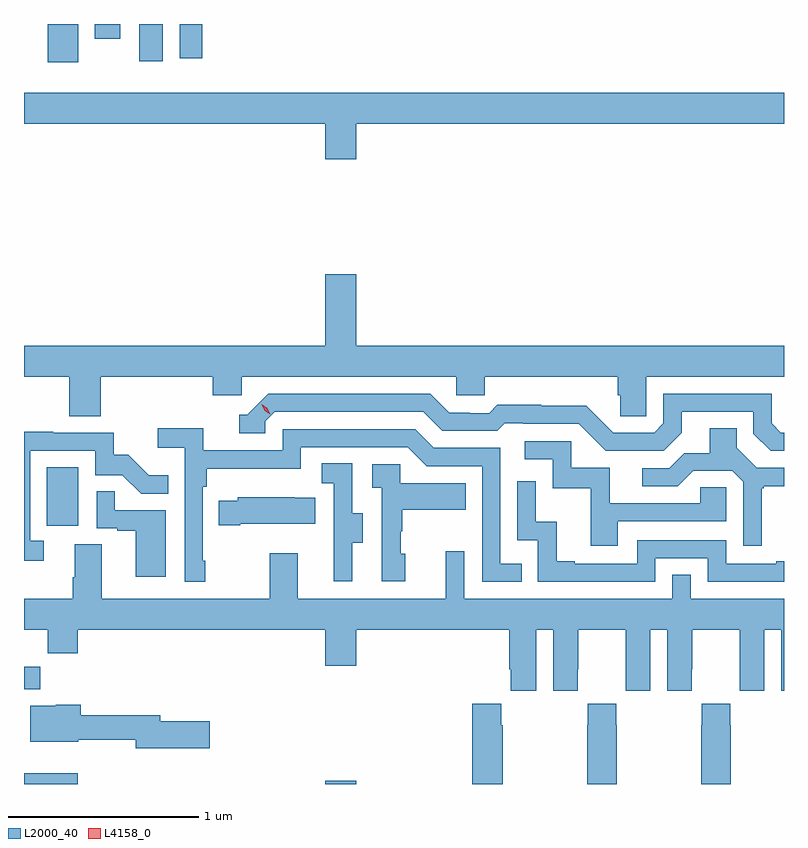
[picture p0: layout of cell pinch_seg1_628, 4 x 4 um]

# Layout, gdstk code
import gdstk
lib = gdstk.Library(unit=1e-6, precision=1e-09)
def R(c, l, rs):  # rectangles x0, y0, x1, y1
    for r in rs: c.add(gdstk.rectangle(r[:2], r[2:], *l))
def P(c, l, *ps):  # polygons
    for p in ps: c.add(gdstk.Polygon(p, *l))
L2000_40 = (2000, 40)
L4158_0 = (4158, 0)

pinch_seg1_628 = lib.new_cell('pinch_seg1_628')
R(pinch_seg1_628, L2000_40, [(1098.487,520.285,1098.77,520.342), (1100.072,520.285,1100.236,520.303), (1098.487,520.784,1098.572,520.903), (1098.608,521.645,1098.772,521.953), (1098.611,524.085,1098.772,524.285), (1099.094,524.088,1099.216,524.285), (1099.308,524.106,1099.424,524.285), (1098.86,524.208,1098.994,524.285)])
P(pinch_seg1_628, L2000_40, [(1100.236,523.76),(1102.487,523.76),(1102.487,523.924),(1098.487,523.924),(1098.487,523.76),(1100.072,523.76),(1100.072,523.572),(1100.236,523.572)],
  [(1098.89,522.428),(1099.481,522.428),(1099.481,522.33),(1099.632,522.33),(1099.632,522.428),(1100.763,522.428),(1100.763,522.33),(1100.913,522.33),(1100.913,522.428),(1101.611,522.428),(1101.611,522.33),(1101.625,522.33),(1101.625,522.22),(1101.762,522.22),(1101.762,522.428),(1102.487,522.428),(1102.487,522.592),(1100.236,522.592),(1100.236,522.967),(1100.072,522.967),(1100.072,522.592),(1098.487,522.592),(1098.487,522.428),(1098.725,522.428),(1098.725,522.22),(1098.89,522.22)],
  [(1101.949,522.133),(1101.949,522.243),(1102.326,522.243),(1102.326,522.129),(1102.416,522.039),(1102.487,522.039),(1102.487,522.135),(1102.47,522.135),(1102.422,522.183),(1102.422,522.339),(1101.852,522.339),(1101.852,522.183),(1101.804,522.135),(1101.588,522.135),(1101.446,522.277),(1101.21,522.277),(1101.21,522.28),(1100.977,522.28),(1100.935,522.237),(1100.832,522.237),(1100.832,522.24),(1100.725,522.24),(1100.626,522.339),(1099.773,522.339),(1099.662,522.228),(1099.619,522.228),(1099.619,522.132),(1099.758,522.132),(1099.758,522.195),(1099.806,522.243),(1100.589,522.243),(1100.688,522.144),(1100.977,522.144),(1101.016,522.183),(1101.115,522.183),(1101.115,522.18),(1101.408,522.18),(1101.549,522.039),(1101.855,522.039)],
  [(1102.369,521.841),(1102.381,521.841),(1102.381,521.852),(1102.487,521.852),(1102.487,521.949),(1102.344,521.949),(1102.237,522.056),(1102.237,522.158),(1102.097,522.158),(1102.097,522.026),(1101.962,522.026),(1101.882,521.946),(1101.741,521.946),(1101.741,521.853),(1101.928,521.853),(1102.009,521.934),(1102.215,521.934),(1102.272,521.877),(1102.272,521.538),(1102.369,521.538)],
  [(1099.441,521.461),(1099.428,521.461),(1099.428,521.849),(1099.448,521.849),(1099.448,521.945),(1099.944,521.945),(1099.944,522.057),(1100.508,522.057),(1100.607,521.958),(1100.898,521.958),(1100.898,521.349),(1101.107,521.349),(1101.107,521.445),(1100.994,521.445),(1100.994,522.054),(1100.644,522.054),(1100.545,522.153),(1099.848,522.153),(1099.848,522.042),(1099.43,522.042),(1099.43,522.158),(1099.191,522.158),(1099.191,522.056),(1099.332,522.056),(1099.332,521.349),(1099.441,521.349)],
  [(1098.592,521.565),(1098.519,521.565),(1098.519,522.039),(1098.861,522.039),(1098.861,521.91),(1099.005,521.91),(1099.103,521.812),(1099.247,521.812),(1099.247,521.911),(1099.143,521.911),(1099.036,522.018),(1098.96,522.018),(1098.96,522.135),(1098.641,522.135),(1098.641,522.14),(1098.487,522.14),(1098.487,521.46),(1098.592,521.46)],
  [(1101.613,521.667),(1102.182,521.667),(1102.182,521.847),(1102.045,521.847),(1102.045,521.763),(1101.571,521.763),(1101.571,521.949),(1101.366,521.949),(1101.366,522.09),(1101.123,522.09),(1101.123,521.994),(1101.27,521.994),(1101.27,521.841),(1101.469,521.841),(1101.469,521.538),(1101.613,521.538)],
  [(1100.215,521.554),(1100.269,521.554),(1100.269,521.709),(1100.214,521.709),(1100.214,521.972),(1100.055,521.972),(1100.055,521.869),(1100.118,521.869),(1100.118,521.565),(1100.117,521.565),(1100.117,521.352),(1100.215,521.352)],
  [(1100.494,521.496),(1100.469,521.496),(1100.469,521.615),(1100.479,521.615),(1100.479,521.729),(1100.813,521.729),(1100.813,521.869),(1100.466,521.869),(1100.466,521.967),(1100.319,521.967),(1100.319,521.843),(1100.37,521.843),(1100.37,521.352),(1100.494,521.352)],
  [(1101.81,521.472),(1102.086,521.472),(1102.086,521.349),(1102.487,521.349),(1102.487,521.458),(1102.445,521.458),(1102.445,521.445),(1102.182,521.445),(1102.182,521.568),(1101.714,521.568),(1101.714,521.445),(1101.385,521.445),(1101.385,521.458),(1101.29,521.458),(1101.29,521.666),(1101.18,521.666),(1101.18,521.878),(1101.084,521.878),(1101.084,521.568),(1101.192,521.568),(1101.192,521.349),(1101.81,521.349)],
  [(1099.234,521.727),(1098.965,521.727),(1098.965,521.825),(1098.87,521.825),(1098.87,521.631),(1098.977,521.631),(1098.977,521.619),(1099.076,521.619),(1099.076,521.376),(1099.234,521.376)],
  [(1099.624,521.654),(1100.021,521.654),(1100.021,521.791),(1099.913,521.791),(1099.913,521.794),(1099.611,521.794),(1099.611,521.776),(1099.513,521.776),(1099.513,521.647),(1099.624,521.647)],
  [(1101.184,521.096),(1101.272,521.096),(1101.272,520.776),(1101.402,520.776),(1101.402,520.888),(1101.403,520.888),(1101.403,521.096),(1101.653,521.096),(1101.653,520.888),(1101.654,520.888),(1101.654,520.776),(1101.784,520.776),(1101.784,521.096),(1101.872,521.096),(1101.872,520.776),(1102.002,520.776),(1102.002,520.888),(1102.003,520.888),(1102.003,521.096),(1102.253,521.096),(1102.253,520.888),(1102.254,520.888),(1102.254,520.776),(1102.384,520.776),(1102.384,521.096),(1102.472,521.096),(1102.472,520.776),(1102.487,520.776),(1102.487,521.26),(1101.996,521.26),(1101.996,521.387),(1101.9,521.387),(1101.9,521.26),(1100.805,521.26),(1100.805,521.509),(1100.708,521.509),(1100.708,521.26),(1099.927,521.26),(1099.927,521.5),(1099.78,521.5),(1099.78,521.26),(1098.895,521.26),(1098.895,521.546),(1098.755,521.546),(1098.755,521.372),(1098.743,521.372),(1098.743,521.26),(1098.487,521.26),(1098.487,521.096),(1098.613,521.096),(1098.613,520.972),(1098.77,520.972),(1098.77,521.096),(1100.072,521.096),(1100.072,520.908),(1100.236,520.908),(1100.236,521.096),(1101.041,521.096),(1101.041,520.888),(1101.05,520.888),(1101.05,520.776),(1101.184,520.776)],
  [(1101.606,520.595),(1101.603,520.595),(1101.603,520.708),(1101.453,520.708),(1101.453,520.595),(1101.451,520.595),(1101.451,520.285),(1101.606,520.285)],
  [(1101.006,520.595),(1100.999,520.595),(1100.999,520.708),(1100.846,520.708),(1100.846,520.285),(1101.006,520.285)],
  [(1102.206,520.595),(1102.203,520.595),(1102.203,520.708),(1102.053,520.708),(1102.053,520.595),(1102.051,520.595),(1102.051,520.285),(1102.206,520.285)],
  [(1099.465,520.614),(1099.204,520.614),(1099.204,520.648),(1098.785,520.648),(1098.785,520.702),(1098.654,520.702),(1098.654,520.696),(1098.521,520.696),(1098.521,520.508),(1098.772,520.508),(1098.772,520.519),(1099.076,520.519),(1099.076,520.472),(1099.465,520.472)])
P(pinch_seg1_628, L4158_0, [(1099.783,522.23),(1099.753,522.25),(1099.737,522.283),(1099.737,522.283),(1099.737,522.283),(1099.768,522.263),(1099.783,522.23),(1099.783,522.23)])

lib.write_gds('pinch_seg1_628.gds')
